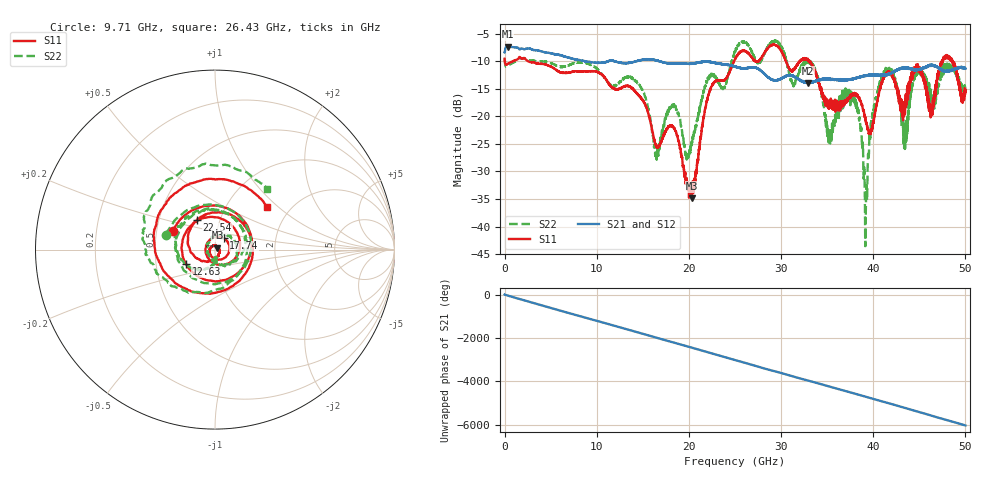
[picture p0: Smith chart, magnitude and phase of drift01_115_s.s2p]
!Created with skrf (http://scikit-rf.org).
# Hz S RI R 50.0
!freq ReS11 ImS11 ReS21 ImS21 ReS12 ImS12 ReS22 ImS22
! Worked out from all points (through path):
!   10001 points, 300 kHz to 50 GHz, reference 50 ohm
!   highest |S21| = -7.33 dB at 315.3 MHz (marker M1); lowest = -14.0 dB at 32.91 GHz (marker M2)
!   group delay of S21, straight-line fit = 335 ps
!   lowest |S11| = -34.9 dB at 20.32 GHz (marker M3), VSWR 1.04, Z = 51.4 + j1.19 ohm
!   |S11| at or under -10 dB: 2.556 GHz to 24.91 GHz (22.36 GHz wide, 163 % of centre); 30.53 GHz to 32.02 GHz (1.49 GHz wide, 4.76 % of centre); 33.07 GHz to 47.44 GHz (14.38 GHz wide, 35.7 % of centre) (the widest 3 of 16)
!   |S22| runs from -43.6 to -6.2 dB; largest |S21 - S12| = 0.011
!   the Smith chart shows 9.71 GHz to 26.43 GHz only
!   S11 on the Smith chart (normalised r, x): 9.71 GHz: 0.61, +0.13; 12.63 GHz: 0.71, -0.12; 17.74 GHz: 1.09, +0.14; 22.54 GHz: 0.78, +0.27; 26.43 GHz: 1.54, +0.85
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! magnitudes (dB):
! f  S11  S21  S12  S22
! 300 kHz  -9.5  -8.4  -8.5  -9.5
! 315.3 MHz  -10.5  -7.3  -7.3  -10.9
! 8.335 GHz  -11.8  -9.8  -9.8  -10.2
! 9.71 GHz  -11.8  -10.2  -10.2  -11.0
! 12.63 GHz  -14.9  -10.3  -10.3  -13.6
! 16.67 GHz  -25.7  -9.9  -9.9  -27.1
! 17.74 GHz  -21.9  -10.4  -10.4  -18.8
! 20.32 GHz  -34.9  -10.4  -10.4  -25.1
! 22.54 GHz  -14.3  -10.2  -10.2  -12.4
! 25 GHz  -9.6  -11.0  -11.0  -8.3
! 26.43 GHz  -8.5  -11.2  -11.2  -7.0
! 32.91 GHz  -10.0  -14.0  -13.9  -10.3
! 33.34 GHz  -10.7  -13.8  -13.8  -10.5
! 35.25 GHz  -17.3  -13.3  -13.3  -23.0
! 37.98 GHz  -15.8  -13.1  -13.1  -17.1
! 39.17 GHz  -20.4  -12.6  -12.5  -40.7
! 40.14 GHz  -19.9  -12.5  -12.5  -17.9
! 41.67 GHz  -11.9  -12.3  -12.3  -11.9
! 43.45 GHz  -17.6  -11.2  -11.3  -25.8
! 44.88 GHz  -10.9  -11.5  -11.5  -12.0
! 46.24 GHz  -19.5  -10.7  -10.7  -16.4
! 50 GHz  -15.4  -11.3  -11.3  -15.0
